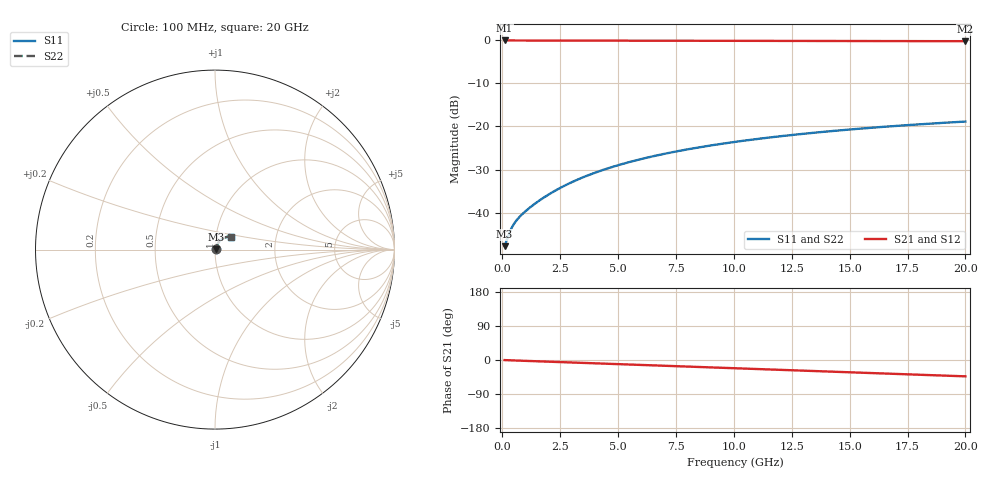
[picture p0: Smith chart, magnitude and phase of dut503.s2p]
! Touchstone file exported from HFSS 2026.1.0
!  File:  C:/ffzhzh/LocalFiles/Ansys_Project_Files/temp_train_TMRDL_503_1783006779_51716.aedt
!  Generated:  11:40:57 PM Jul  2, 2026
!  Design:  TMRDL
!  Project:  temp_train_TMRDL_503_1783006779_51716
! Variables:
!  h_bsmrdl = 2um
!  h_ox = 20um
!  h_rdl = 5um
!  h_sub = 80um
!  h_tmrdl = 2.61um
!  h_tsv = 80um
!  h_via = 3um
!  l_bsmrdl = 300um
!  l_sub = 1144.74um
!  l_tmrdl = 744.74um
!  m_sub = 200um
!  pitch = 35.83um
!  r_tsv = 6um
!  s_tmrdl = 10um
!  w_bsmrdl = 18um
!  w_sub = 500um
!  w_tmrdl = 29.03um
!  x_tsv_center1 = 759.255um
!  x_tsv_center2 = 1077.255um
!  x_tsv_center3 = 1851.025um
!  x_tsv_center4 = 2169.025um
!  x_tsv_center5 = 2942.795um
!  x_tsv_center6 = 3260.795um
# GHz S MA R 50.000000
! Terminal data exported
! Port[1] = TM_RDL1_1_T1
! Port[2] = TM_RDL1_1_T2
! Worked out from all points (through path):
!   200 points, 100 MHz to 20 GHz, reference 50 ohm
!   highest |S21| = -0.03 dB at 100 MHz (marker M1); lowest = -0.2 dB at 20 GHz (marker M2)
!   group delay of S21, straight-line fit = 5.98 ps
!   lowest |S11| = -47.8 dB at 100 MHz (marker M3), VSWR 1.01, Z = 50.4 + j0.131 ohm
!   |S11| at or under -10 dB: start of sweep to end of sweep
!   |S22| runs from -47.8 to -18.9 dB; largest |S21 - S12| = 4.2e-15
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0.1  0.004074 18.6  0.9961 -0.3  0.9961 -0.3  0.004074 18.6
! Gamma 0 0 0 0
! Port Impedance 50 0 50 0
0.3  0.005772 36.6  0.9954 -0.7  0.9954 -0.7  0.005772 36.6
0.4  0.006613 40.0  0.995 -1.0  0.995 -1.0  0.006612 40.0
0.5  0.007361 42.3  0.9946 -1.2  0.9946 -1.2  0.00736 42.3
0.6  0.008032 44.1  0.9944 -1.4  0.9944 -1.4  0.008031 44.1
0.7  0.00865 45.7  0.9941 -1.6  0.9941 -1.6  0.008649 45.7
1  0.01036 50.2  0.9937 -2.3  0.9937 -2.3  0.01036 50.2
1.5  0.01321 56.2  0.9933 -3.4  0.9933 -3.4  0.01321 56.2
2.1  0.01683 60.9  0.9929 -4.7  0.9929 -4.7  0.01683 60.9
2.8  0.02124 63.8  0.9925 -6.2  0.9925 -6.2  0.02124 63.8
3.5  0.02576 65.2  0.9921 -7.7  0.9921 -7.7  0.02576 65.2
4.2  0.0303 65.6  0.9917 -9.3  0.9917 -9.3  0.0303 65.7
5  0.03547 65.4  0.9911 -11.0  0.9911 -11.0  0.03547 65.4
5.9  0.04122 64.6  0.9903 -13.0  0.9903 -13.0  0.04122 64.7
6.8  0.04687 63.5  0.9895 -14.9  0.9895 -14.9  0.04687 63.5
8.3  0.05601 61.1  0.988 -18.2  0.988 -18.2  0.05601 61.2
10.1  0.06648 57.9  0.9861 -22.1  0.9861 -22.1  0.06648 58.0
11.7  0.07532 54.9  0.9845 -25.5  0.9845 -25.5  0.07532 55.0
13.4  0.08422 51.7  0.9827 -29.1  0.9827 -29.1  0.08422 51.8
15  0.09214 48.5  0.981 -32.5  0.981 -32.5  0.09214 48.6
16.7  0.1001 45.2  0.9793 -36.1  0.9793 -36.1  0.1001 45.3
20  0.114 38.7  0.9762 -43.1  0.9762 -43.1  0.114 38.9
